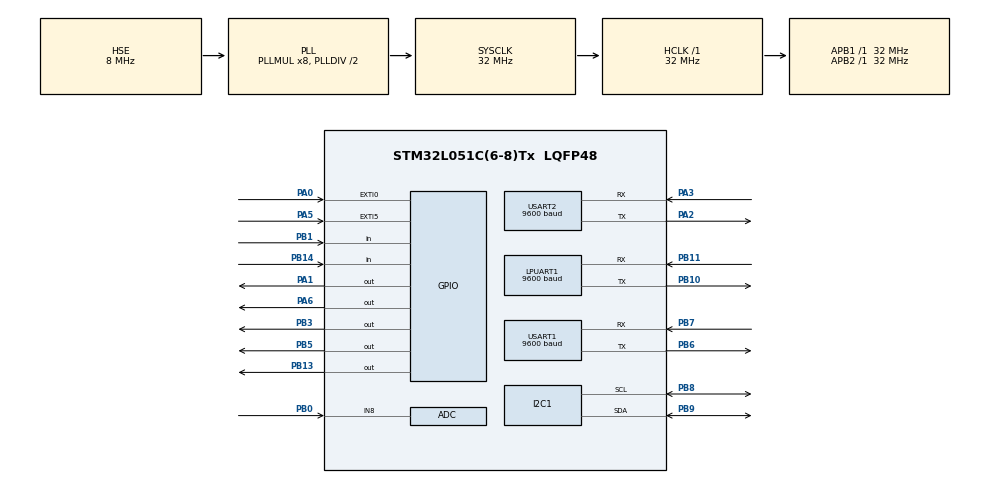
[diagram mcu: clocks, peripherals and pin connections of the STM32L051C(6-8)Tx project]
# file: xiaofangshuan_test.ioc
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ADC.SamplingTime=ADC_SAMPLETIME_160CYCLES_5
I2C1.Timing=0x00707CBB
LPUART1.BaudRate=9600
LPUART1.WordLength=UART_WORDLENGTH_8B
Mcu.Family=STM32L0
Mcu.Name=STM32L051C(6-8)Tx
Mcu.Package=LQFP48
NVIC.EXTI0_1_IRQn=true\:2\:0\:true\:false\:true\:true\:true\:true
NVIC.EXTI4_15_IRQn=true\:1\:0\:true\:false\:true\:true\:true\:true
NVIC.TIM2_IRQn=true\:3\:0\:true\:false\:true\:true\:true\:true
NVIC.TIM6_DAC_IRQn=true\:3\:0\:true\:false\:true\:true\:true\:true
PA0.GPIO_PuPd=GPIO_PULLDOWN
PA0.Signal=GPXTI0
PA1.PinState=GPIO_PIN_SET
PA1.Signal=GPIO_Output
PA13.Mode=Serial_Wire
PA13.Signal=SYS_SWDIO
PA14.Mode=Serial_Wire
PA14.Signal=SYS_SWCLK
PA2.GPIO_PuPd=GPIO_NOPULL
PA2.Mode=Asynchronous
PA2.Signal=USART2_TX
PA3.Mode=Asynchronous
PA3.Signal=USART2_RX
PA5.GPIO_ModeDefaultEXTI=GPIO_MODE_IT_FALLING
PA5.GPIO_PuPd=GPIO_PULLUP
PA5.Signal=GPXTI5
PA6.Signal=GPIO_Output
PB0.Mode=IN8
PB0.Signal=ADC_IN8
PB1.Signal=GPIO_Input
PB10.Mode=Asynchronous
PB10.Signal=LPUART1_TX
PB11.Mode=Asynchronous
PB11.Signal=LPUART1_RX
PB13.PinState=GPIO_PIN_RESET
PB13.Signal=GPIO_Output
PB14.Signal=GPIO_Input
PB3.PinState=GPIO_PIN_SET
PB3.Signal=GPIO_Output
PB5.PinState=GPIO_PIN_SET
PB5.Signal=GPIO_Output
PB6.GPIO_PuPd=GPIO_PULLUP
PB6.Mode=Asynchronous
PB6.Signal=USART1_TX
PB7.GPIO_FM7=__NULL
PB7.GPIO_PuPd=GPIO_PULLUP
PB7.Mode=Asynchronous
PB7.Signal=USART1_RX
PB8.Mode=I2C
PB8.Signal=I2C1_SCL
PB9.Mode=I2C
PB9.Signal=I2C1_SDA
PH0-OSC_IN.Mode=HSE-External-Oscillator
PH0-OSC_IN.Signal=RCC_OSC_IN
PH1-OSC_OUT.Mode=HSE-External-Oscillator
PH1-OSC_OUT.Signal=RCC_OSC_OUT
ProjectManager.HeapSize=0x200
ProjectManager.StackSize=0x400
ProjectManager.TargetToolchain=MDK-ARM V5
RCC.AHBFreq_Value=32000000
RCC.APB1Freq_Value=32000000
RCC.APB1TimFreq_Value=32000000
RCC.APB2Freq_Value=32000000
RCC.APB2TimFreq_Value=32000000
RCC.HCLKFreq_Value=32000000
RCC.HSE_VALUE=8000000
RCC.HSI16_VALUE=16000000
RCC.HSI_VALUE=16000000
RCC.LSE_VALUE=32768
RCC.MSI_VALUE=2097000
RCC.PLLMUL=RCC_PLLMUL_8
RCC.PLLSourceVirtual=RCC_PLLSOURCE_HSE
RCC.SYSCLKFreq_VALUE=32000000
RCC.SYSCLKSource=RCC_SYSCLKSOURCE_PLLCLK
RCC.VCOOutputFreq_Value=64000000
TIM2.Period=63999
TIM2.Prescaler=59999
TIM6.Period=49999
TIM6.Prescaler=9599
USART1.BaudRate=9600
USART1.VirtualMode-Asynchronous=VM_ASYNC
USART2.BaudRate=9600
USART2.VirtualMode-Asynchronous=VM_ASYNC
VP_TIM2_VS_ClockSourceINT.Mode=Internal
VP_TIM6_VS_ClockSourceINT.Mode=Enable_Timer
board=custom

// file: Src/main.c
/* USER CODE BEGIN Header */
/**
  ******************************************************************************
  * @file           : main.c
  * @brief          : Main program body
  ******************************************************************************
  * @attention
  *
  * Copyright (c) 2024 STMicroelectronics.
  * All rights reserved.
  *
  * This software is licensed under terms that can be found in the LICENSE file
  * in the root directory of this software component.
  * If no LICENSE file comes with this software, it is provided AS-IS.
  *
  ******************************************************************************
  */
/* USER CODE END Header */
#include "main.h"
#include "adc.h"
#include "i2c.h"
#include "usart.h"
#include "tim.h"
#include "gpio.h"

/* USER CODE BEGIN Includes */
#include "string.h"
#include "stdio.h"
#include "stdlib.h"
/* USER CODE END Includes */

/* USER CODE BEGIN PV */

uint16_t USART1_RX_STA=0;       //串口1接收状态标记：bit15，接收完成标志；bit14，	接收到0x0d；bit13~0，	接收到的有效字节数目
uint8_t USART1_RX_BUF[USART_REC_LEN];     //串口1完整数据接收缓冲
uint8_t USART1_TX_BUF[USART_REC_LEN];     //串口1完整数据发送缓冲
uint8_t u1_aRxBuffer[RXBUFFERSIZE];		//HAL库使用的串口1单字节接收缓冲

uint16_t USART2_RX_STA=0;       //串口2接收状态标记：bit15，	接收完成标志；bit14，	接收到0x0d；bit13~0，	接收到的有效字节数目
uint8_t USART2_RX_BUF[USART_REC_LEN];     //串口2完整数据接收缓冲
uint8_t USART2_TX_BUF[USART_REC_LEN];     //串口2完整数据发送缓冲
uint8_t u2_aRxBuffer[RXBUFFERSIZE];		//HAL库使用的串口2单字节接收缓冲

uint16_t LPUSART1_RX_STA=0;       //串口LP1接收状态标记：bit15，	接收完成标志；bit14，	接收到0x0d；bit13~0，	接收到的有效字节数目
uint8_t LPUSART1_RX_BUF[USART_REC_LEN];     //串口LP1完整数据接收缓冲
uint8_t LPUSART1_TX_BUF[USART_REC_LEN];     //串口LP1完整数据发送缓冲
uint8_t lp1_aRxBuffer[RXBUFFERSIZE];		//HAL库使用的串口LP1单字节接收缓冲

uint8_t REC_FLAG = 0;		//霍尔开关是否被按下标志
uint8_t NB_4G_State;		//通讯模式状态记录:1为4G，0为NB
uint8_t Water_State;		//水浸状态记录：1为水浸，0为未水浸
float Voleage;	//电池电量
uint8_t Water_Pre[10];		//水压
bool isGetWP;		//是否获得远端蓝牙水压数据标志
uint8_t CPIN_FLAG;	//4G模块初始化检查sim卡标志
uint8_t CREG_FLAG;	//4G模块初始化检查CS业务标志
uint8_t CGREG_FLAG;	//4G模块初始化检查PS业务标志

extern lis3dh_t g_lis3dh;	//姿态信息结构体
uint8_t it0_count = 0;	//外部触发中断计数，用于防止霍尔开关触发两次

//初始姿态
int32_t g_init_x;
int32_t g_init_y;
int32_t g_init_z;

extern UART_HandleTypeDef huart1;
/* USER CODE END PV */

void SystemClock_Config(void);

int main(void)
{

  /* MCU Configuration--------------------------------------------------------*/

  /* Reset of all peripherals, Initializes the Flash interface and the Systick. */
  HAL_Init();

  /* Configure the system clock */
  SystemClock_Config();

  /* Initialize all configured peripherals */
  MX_GPIO_Init();
  MX_LPUART1_UART_Init();
  MX_USART1_UART_Init();
  MX_USART2_UART_Init();
  MX_ADC_Init();
  MX_I2C1_Init();
  MX_TIM6_Init();
  MX_TIM2_Init();
  /* USER CODE BEGIN 2 */
	HAL_StatusTypeDef status = lis3dh_init(&g_lis3dh, &hi2c1, lis3dh_buffer, 6);
	if(status != HAL_OK)
		print_u1("lis3dh_init fail\r\n");
	else
		print_u1("lis3dh_init ok\r\n");

	nb_module_init();		//网络通信模块初始化
	ble_mode_init(4);	//主控设置蓝牙为主从一体模式
	HAL_Delay(1000);
	BEEP_On(1000);
	//调试：始终开启开启蓝牙广播等待连接
//	send_msg_ble("TTM:ADV-1");
	print_u1("runing...\r\n");

  /* USER CODE END 2 */

  /* Infinite loop */
  /* USER CODE BEGIN WHILE */
  while (1)
  {
		//调试：收到定位模块串口消息则通过串口1发送到上位机
//		if(LPUSART1_RX_STA&0x8000)
//		{
//			print_u1("\r\ngnss msg is: \r\n");
//			uint16_t len=LPUSART1_RX_STA&0x3fff;//得到此次接收到的数据长度
//			HAL_UART_Transmit(&huart1,(uint8_t*)LPUSART1_RX_BUF,len,1000);	//发送接收到的数据
//			while(__HAL_UART_GET_FLAG(&huart1,UART_FLAG_TC)!=SET);		HAL_Delay(5);//等待发送结束
//			LPUSART1_RX_STA=0;
//		}

		//调试：上位机发送给串口1的信息直接发给定位模块串口
//		if(USART1_RX_STA&0x8000){
//			HAL_UART_Transmit(&huart1,(uint8_t*)"\r\npc-mcu rev is: \r\n",strlen("\r\npc-mcu rev is: \r\n"),1000);	//发送接收到的数据
//			while(__HAL_UART_GET_FLAG(&huart1,UART_FLAG_TC)!=SET);		HAL_Delay(5);//等待发送结束
//			len=USART1_RX_STA&0x3fff;//得到此次接收到的数据长度
//			//PC消息回显
//			HAL_Delay(5);
//			HAL_UART_Transmit(&huart1,(uint8_t*)USART1_RX_BUF,len,1000);
//			while(__HAL_UART_GET_FLAG(&huart1,UART_FLAG_TC)!=SET);		HAL_Delay(5);//等待发送结束
//			USART1_RX_STA=0;
//		}else
//		{
//			times++;
//			if(times == 65535)
//				times = 0;
//			HAL_Delay(10);
//		}

		HAL_Delay(1000);
    /* USER CODE END WHILE */

  }
}

void SystemClock_Config(void)
{
  RCC_OscInitTypeDef RCC_OscInitStruct = {0};
  RCC_ClkInitTypeDef RCC_ClkInitStruct = {0};
  RCC_PeriphCLKInitTypeDef PeriphClkInit = {0};

  /** Configure the main internal regulator output voltage
  */
  __HAL_PWR_VOLTAGESCALING_CONFIG(PWR_REGULATOR_VOLTAGE_SCALE1);

  /** Initializes the RCC Oscillators according to the specified parameters
  * in the RCC_OscInitTypeDef structure.
  */
  RCC_OscInitStruct.OscillatorType = RCC_OSCILLATORTYPE_HSE;
  RCC_OscInitStruct.HSEState = RCC_HSE_ON;
  RCC_OscInitStruct.PLL.PLLState = RCC_PLL_ON;
  RCC_OscInitStruct.PLL.PLLSource = RCC_PLLSOURCE_HSE;
  RCC_OscInitStruct.PLL.PLLMUL = RCC_PLLMUL_8;
  RCC_OscInitStruct.PLL.PLLDIV = RCC_PLLDIV_2;
  if (HAL_RCC_OscConfig(&RCC_OscInitStruct) != HAL_OK)
  {
    Error_Handler();
  }

  /** Initializes the CPU, AHB and APB buses clocks
  */
  RCC_ClkInitStruct.ClockType = RCC_CLOCKTYPE_HCLK|RCC_CLOCKTYPE_SYSCLK
                              |RCC_CLOCKTYPE_PCLK1|RCC_CLOCKTYPE_PCLK2;
  RCC_ClkInitStruct.SYSCLKSource = RCC_SYSCLKSOURCE_PLLCLK;
  RCC_ClkInitStruct.AHBCLKDivider = RCC_SYSCLK_DIV1;
  RCC_ClkInitStruct.APB1CLKDivider = RCC_HCLK_DIV1;
  RCC_ClkInitStruct.APB2CLKDivider = RCC_HCLK_DIV1;

  if (HAL_RCC_ClockConfig(&RCC_ClkInitStruct, FLASH_LATENCY_1) != HAL_OK)
  {
    Error_Handler();
  }
  PeriphClkInit.PeriphClockSelection = RCC_PERIPHCLK_USART1|RCC_PERIPHCLK_USART2
                              |RCC_PERIPHCLK_LPUART1|RCC_PERIPHCLK_I2C1;
  PeriphClkInit.Usart1ClockSelection = RCC_USART1CLKSOURCE_PCLK2;
  PeriphClkInit.Usart2ClockSelection = RCC_USART2CLKSOURCE_PCLK1;
  PeriphClkInit.Lpuart1ClockSelection = RCC_LPUART1CLKSOURCE_PCLK1;
  PeriphClkInit.I2c1ClockSelection = RCC_I2C1CLKSOURCE_PCLK1;
  if (HAL_RCCEx_PeriphCLKConfig(&PeriphClkInit) != HAL_OK)
  {
    Error_Handler();
  }
}

/* USER CODE BEGIN 4 */
void HAL_IncTick(void)
{
	if(uwTickFreq==0)
	{
		uwTickFreq = HAL_TICK_FREQ_DEFAULT;
	}
  uwTick += uwTickFreq;
}

//重载延时函数，避免原延时函数使用中断导致中断程序中使用延时锁死
//void HAL_Delay(uint32_t Delay){
//	uint32_t t=Delay*7500;
//	while(t--);
//}

/*
返回0、1、2、3-->用户连接、断开、"GET"、"START"、"STOP"命令
返回4、5：未从水压检测蓝牙信息中获取到水压数据、成功解析水压数据
*/
uint8_t process_remote_ble_recv(uint8_t *buffer)
{
		//判断是否是用户蓝牙发送命令
		char *check_connect = strstr((char*)buffer, "TTM:CONNECTED");
		if(check_connect != NULL)
			return 0;
		char *check_disconnect = strstr((char*)buffer, "TTM:DISCONNECT");
		if(check_disconnect != NULL)
			return 1;
		char *check_get = strstr((char*)buffer, "CHECK");
		if(check_get != NULL)
			return 2;
		char *check_start = strstr((char*)buffer, "START");
		if(check_start != NULL)
			return 3;
		char *check_stop = strstr((char*)buffer, "STOP");
		if(check_stop != NULL)
			return 4;
		//判断是否是水压小板蓝牙返回的水压数据：格式为"#x.xx#",若为水压数据则设置对应全局标志及全局数据
		char* pidx0, *pidx1;
		pidx0 = strchr((char *)buffer, '#');
		if(pidx0 == NULL)
			return 5;
		pidx1 = strrchr((char*)buffer,'#');
		if(pidx1 == NULL)
			return 5;
		isGetWP = true;
		uint8_t len = pidx1 - pidx0 -1;
		strncpy((char*)Water_Pre, pidx0+1, len);
		return 6;
}

bool check_error(void){
	//姿态偏离
//	if((double)abs(g_lis3dh.x - g_init_x)/(double)g_init_x >= 0.35)
//		return true;
	if(((double)abs(g_lis3dh.y - g_init_y)/(double)g_init_y) >= 0.35)
		return true;
	if(((double)abs(g_lis3dh.z - g_init_z)/(double)g_init_z) >= 0.35)
		return true;
	//水浸
	if(Water_State == 1)
		return true;
	//电压过低
	if(Voleage < 3.0)
		return true;
	//水压过低
	char* WP_endptr;
	double WP_val = strtod((const char*)Water_Pre, &WP_endptr);
	if(WP_endptr != (char*)Water_Pre)
	{
		if(WP_val <= 0.06 || WP_val >= 0.14)
			return true;
	}
	return false;
}

/* USER CODE END 4 */

void Error_Handler(void)
{
  __disable_irq();
  while (1)
  {
  }
}
